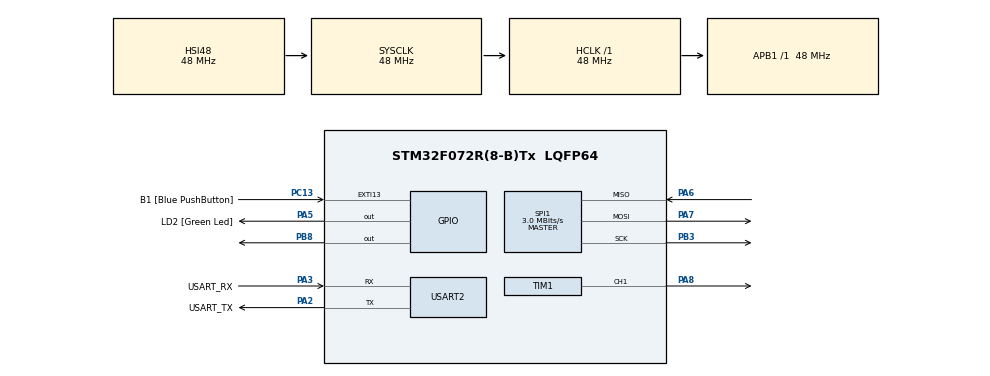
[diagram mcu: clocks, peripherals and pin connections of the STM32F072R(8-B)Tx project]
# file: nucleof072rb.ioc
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Mcu.Family=STM32F0
Mcu.Name=STM32F072R(8-B)Tx
Mcu.Package=LQFP64
PA13.GPIO_Label=TMS
PA13.Mode=Serial_Wire
PA13.Signal=SYS_SWDIO
PA14.GPIO_Label=TCK
PA14.Mode=Serial_Wire
PA14.Signal=SYS_SWCLK
PA2.GPIO_Label=USART_TX
PA2.GPIO_Mode=GPIO_MODE_AF_PP
PA2.GPIO_PuPd=GPIO_NOPULL
PA2.GPIO_Speed=GPIO_SPEED_FREQ_LOW
PA2.Mode=Asynchronous
PA2.Signal=USART2_TX
PA3.GPIO_Label=USART_RX
PA3.GPIO_Mode=GPIO_MODE_AF_PP
PA3.GPIO_PuPd=GPIO_NOPULL
PA3.GPIO_Speed=GPIO_SPEED_FREQ_LOW
PA3.Mode=Asynchronous
PA3.Signal=USART2_RX
PA5.GPIO_Label=LD2 [Green Led]
PA5.GPIO_Mode=GPIO_MODE_OUTPUT_PP
PA5.GPIO_PuPd=GPIO_NOPULL
PA5.GPIO_Speed=GPIO_SPEED_FREQ_LOW
PA5.Signal=GPIO_Output
PA6.Mode=Full_Duplex_Master
PA6.Signal=SPI1_MISO
PA7.Mode=Full_Duplex_Master
PA7.Signal=SPI1_MOSI
PA8.Signal=S_TIM1_CH1
PB3.Mode=Full_Duplex_Master
PB3.Signal=SPI1_SCK
PB8.Signal=GPIO_Output
PC13.GPIO_Label=B1 [Blue PushButton]
PC13.GPIO_ModeDefaultEXTI=GPIO_MODE_IT_FALLING
PC13.Signal=GPXTI13
PC14-OSC32_IN.Mode=LSE-External-Oscillator
PC14-OSC32_IN.Signal=RCC_OSC32_IN
PC15-OSC32_OUT.Mode=LSE-External-Oscillator
PC15-OSC32_OUT.Signal=RCC_OSC32_OUT
PF0-OSC_IN.Mode=HSE-External-Clock-Source
PF0-OSC_IN.Signal=RCC_OSC_IN
PF1-OSC_OUT.Signal=RCC_OSC_OUT
ProjectManager.HeapSize=0x200
ProjectManager.StackSize=0x400
ProjectManager.TargetToolchain=STM32CubeIDE
RCC.AHBFreq_Value=48000000
RCC.APB1Freq_Value=48000000
RCC.APB1TimFreq_Value=48000000
RCC.FLatency-AdvancedSettings=FLASH_LATENCY_1
RCC.HCLKFreq_Value=48000000
RCC.PLLDivider=RCC_PREDIV_DIV2
RCC.PLLMUL=RCC_PLL_MUL12
RCC.PREFETCH_ENABLE-AdvancedSettings=1
RCC.SYSCLKFreq_VALUE=48000000
RCC.SYSCLKSource=RCC_SYSCLKSOURCE_HSI48
SH.S_TIM1_CH1.0=TIM1_CH1,PWM Generation1 CH1
SPI1.BaudRatePrescaler=SPI_BAUDRATEPRESCALER_16
SPI1.CalculateBaudRate=3.0 MBits/s
SPI1.DataSize=SPI_DATASIZE_8BIT
SPI1.Direction=SPI_DIRECTION_2LINES
SPI1.Mode=SPI_MODE_MASTER
SPI1.VirtualType=VM_MASTER
TIM1.Channel-PWM\ Generation1\ CH1=TIM_CHANNEL_1
TIM1.Period=64000
TIM1.Prescaler=14
USART2.VirtualMode=VM_ASYNC
USART2.VirtualMode-Asynchronous=VM_ASYNC
VP_TIM1_VS_ClockSourceINT.Mode=Internal
board=NUCLEO-F072RB

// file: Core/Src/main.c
/* USER CODE BEGIN Header */
/**
  ******************************************************************************
  * @file           : main.c
  * @brief          : Main program body
  ******************************************************************************
  * @attention
  *
  * <h2><center>&copy; Copyright (c) 2021 STMicroelectronics.
  * All rights reserved.</center></h2>
  *
  * This software component is licensed by ST under BSD 3-Clause license,
  * the "License"; You may not use this file except in compliance with the
  * License. You may obtain a copy of the License at:
  *                        opensource.org/licenses/BSD-3-Clause
  *
  ******************************************************************************
  */
/* USER CODE END Header */
#include "main.h"
#include "spi.h"
#include "tim.h"
#include "usart.h"
#include "gpio.h"

void SystemClock_Config(void);

/* USER CODE BEGIN 0 */

uint8_t transmit_data[3];
uint8_t receive_data[3];

const int DATA_SIZE = 3;

uint16_t Read_ADC(void) {

	HAL_StatusTypeDef status;

    HAL_GPIO_WritePin(GPIOB, GPIO_PIN_8, GPIO_PIN_RESET);  // CS low to begin transmission from master to slave
    status = HAL_SPI_TransmitReceive(&hspi1, transmit_data, receive_data, DATA_SIZE, HAL_MAX_DELAY);	//transmit and receive data
    if (status == HAL_OK) {
    	//everything works, continue with code
    } else {
    	printf("SPI Transmission failed with error code: %d\n", status);
    }
    HAL_GPIO_WritePin(GPIOB, GPIO_PIN_8, GPIO_PIN_SET);    // CS high to stop transmission from master to slave

    return ((receive_data[1] & 0x03) << 8) | receive_data[2];          // 10-bit result
}

/* USER CODE END 0 */

int main(void)
{

  /* MCU Configuration--------------------------------------------------------*/

  /* Reset of all peripherals, Initializes the Flash interface and the Systick. */
  HAL_Init();

  /* USER CODE BEGIN Init */

  uint8_t channel = 0;

  transmit_data[0] = 0x01;                         	// start bit
  transmit_data[1] = 0x80 | (channel << 4);          // single-ended + channel
  transmit_data[2] = 0x00;							//receive leftover bits

  uint16_t adc_value;
  uint16_t pwm_value;

  float scale_min = 3200.0f;    // corresponds to 1 ms pulse
  float scale_range = 3200.0f;  // corresponds to 1 ms range
  float adc_max = 1023.0f;      // max ADC value

  /* USER CODE END Init */

  /* Configure the system clock */
  SystemClock_Config();

  /* Initialize all configured peripherals */
  MX_GPIO_Init();
  MX_USART2_UART_Init();
  MX_SPI1_Init();
  MX_TIM1_Init();
  /* USER CODE BEGIN 2 */
  HAL_TIM_PWM_Start(&htim1, TIM_CHANNEL_1);
  /* USER CODE END 2 */

  /* Infinite loop */
  while (1)
  {
	adc_value = Read_ADC();

	pwm_value = (uint16_t)(scale_min + (adc_value * scale_range) / adc_max);	// Scale 0–1023 to 3200–6400 (1–2ms pulse)

	__HAL_TIM_SET_COMPARE(&htim1, TIM_CHANNEL_1, pwm_value);

	HAL_Delay(10);
  }
}

void SystemClock_Config(void)
{
  RCC_OscInitTypeDef RCC_OscInitStruct = {0};
  RCC_ClkInitTypeDef RCC_ClkInitStruct = {0};
  RCC_PeriphCLKInitTypeDef PeriphClkInit = {0};

  /** Initializes the RCC Oscillators according to the specified parameters
  * in the RCC_OscInitTypeDef structure.
  */
  RCC_OscInitStruct.OscillatorType = RCC_OSCILLATORTYPE_HSI48;
  RCC_OscInitStruct.HSI48State = RCC_HSI48_ON;
  RCC_OscInitStruct.PLL.PLLState = RCC_PLL_NONE;
  if (HAL_RCC_OscConfig(&RCC_OscInitStruct) != HAL_OK)
  {
    Error_Handler();
  }
  /** Initializes the CPU, AHB and APB buses clocks
  */
  RCC_ClkInitStruct.ClockType = RCC_CLOCKTYPE_HCLK|RCC_CLOCKTYPE_SYSCLK
                              |RCC_CLOCKTYPE_PCLK1;
  RCC_ClkInitStruct.SYSCLKSource = RCC_SYSCLKSOURCE_HSI48;
  RCC_ClkInitStruct.AHBCLKDivider = RCC_SYSCLK_DIV1;
  RCC_ClkInitStruct.APB1CLKDivider = RCC_HCLK_DIV1;

  if (HAL_RCC_ClockConfig(&RCC_ClkInitStruct, FLASH_LATENCY_1) != HAL_OK)
  {
    Error_Handler();
  }
  PeriphClkInit.PeriphClockSelection = RCC_PERIPHCLK_USART2;
  PeriphClkInit.Usart2ClockSelection = RCC_USART2CLKSOURCE_PCLK1;
  if (HAL_RCCEx_PeriphCLKConfig(&PeriphClkInit) != HAL_OK)
  {
    Error_Handler();
  }
}

void Error_Handler(void)
{
  __disable_irq();
  while (1)
  {
  }
}

/************************ (C) COPYRIGHT STMicroelectronics *****END OF FILE****/
